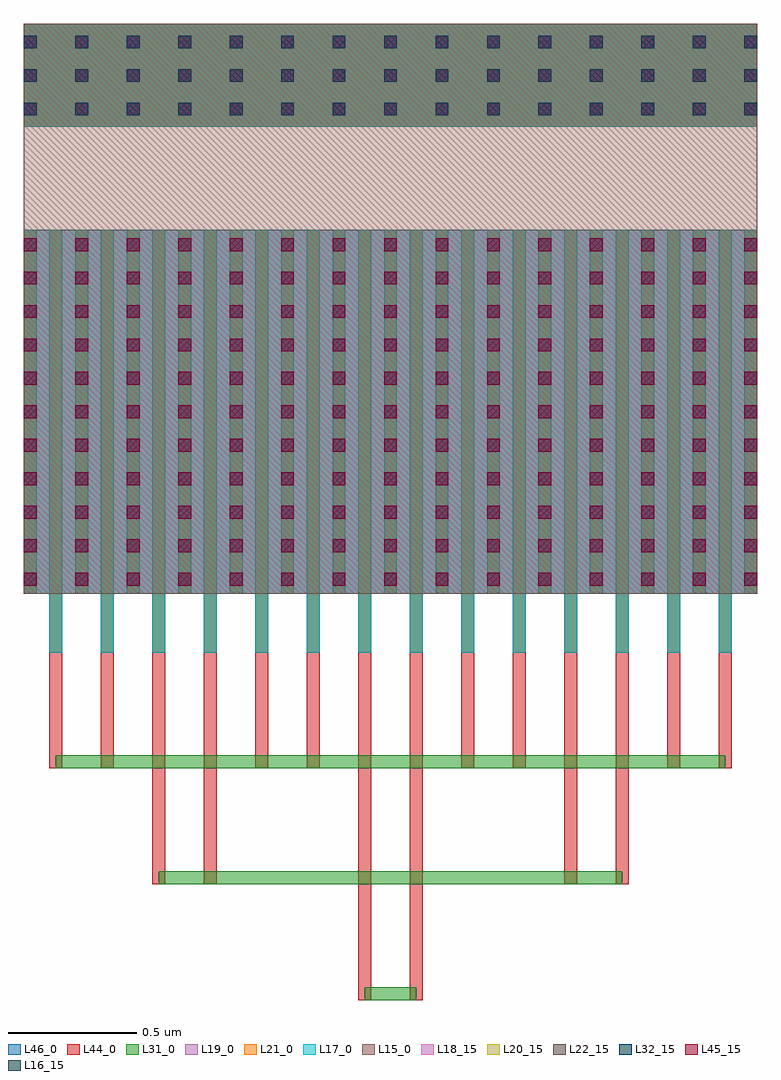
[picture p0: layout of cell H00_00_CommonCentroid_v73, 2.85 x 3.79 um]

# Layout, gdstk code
import gdstk
lib = gdstk.Library(unit=1e-6, precision=1e-09)
def R(c, l, rs):  # rectangles x0, y0, x1, y1
    for r in rs: c.add(gdstk.rectangle(r[:2], r[2:], *l))
def A(c, l, x, y, w, h, nx, ny, dx, dy):  # array of equal rectangles
    R(c, l, [(x+i*dx, y+j*dy, x+i*dx+w, y+j*dy+h) for i in range(nx) for j in range(ny)])
L15_0 = (15, 0)
L16_15 = (16, 15)
L17_0 = (17, 0)
L18_15 = (18, 15)
L19_0 = (19, 0)
L20_15 = (20, 15)
L21_0 = (21, 0)
L22_15 = (22, 15)
L31_0 = (31, 0)
L32_15 = (32, 15)
L44_0 = (44, 0)
L45_15 = (45, 15)
L46_0 = (46, 0)

h00_00_commoncentroid_v7 = lib.new_cell('H00_00_CommonCentroid_v73:SRF_CommonArray:SRF_CDAC_B2:SRF_UCAP:SRF_ECAP:SRF_Top_ViaM2M7:SRF_ViaM2M3')
R(h00_00_commoncentroid_v7, L17_0, [(0,-1.332,0.05,0.082)])
A(h00_00_commoncentroid_v7, L18_15, 0, -1.3, 0.05, 0.05, 1, 11, 0, 0.13)
R(h00_00_commoncentroid_v7, L19_0, [(0,-1.332,0.05,0.082)])

c_h00_00_commoncentroid_v7 = lib.new_cell('H00_00_CommonCentroid_v73:SRF_CommonArray:SRF_CDAC_B2:SRF_UCAP:SRF_ECAP:SRF_Top_ViaM2M7:SRF_ViaM3M4')
R(c_h00_00_commoncentroid_v7, L19_0, [(0,-1.332,0.05,0.082)])
A(c_h00_00_commoncentroid_v7, L20_15, 0, -1.3, 0.05, 0.05, 1, 11, 0, 0.13)
R(c_h00_00_commoncentroid_v7, L21_0, [(0,-1.332,0.05,0.082)])

c_h00_00_commoncentroid_v7_ = lib.new_cell('H00_00_CommonCentroid_v73:SRF_CommonArray:SRF_CDAC_B2:SRF_UCAP:SRF_ECAP:SRF_Top_ViaM2M7:SRF_ViaM4M5')
R(c_h00_00_commoncentroid_v7_, L21_0, [(0,-1.332,0.05,0.082)])
A(c_h00_00_commoncentroid_v7_, L22_15, 0, -1.3, 0.05, 0.05, 1, 11, 0, 0.13)
R(c_h00_00_commoncentroid_v7_, L31_0, [(0,-1.332,0.05,0.082)])

c_h00_00_commoncentroid_v7__ = lib.new_cell('H00_00_CommonCentroid_v73:SRF_CommonArray:SRF_CDAC_B2:SRF_UCAP:SRF_ECAP:SRF_Top_ViaM2M7:SRF_ViaM5M6')
R(c_h00_00_commoncentroid_v7__, L31_0, [(0,-1.332,0.05,0.082)])
A(c_h00_00_commoncentroid_v7__, L32_15, 0, -1.3, 0.05, 0.05, 1, 11, 0, 0.13)
R(c_h00_00_commoncentroid_v7__, L44_0, [(0,-1.332,0.05,0.082)])

c_h00_00_commoncentroid_v7___ = lib.new_cell('H00_00_CommonCentroid_v73:SRF_CommonArray:SRF_CDAC_B2:SRF_UCAP:SRF_ECAP:SRF_Top_ViaM2M7:SRF_ViaM6M7')
R(c_h00_00_commoncentroid_v7___, L44_0, [(0,-1.332,0.05,0.082)])
A(c_h00_00_commoncentroid_v7___, L45_15, 0, -1.3, 0.05, 0.05, 1, 11, 0, 0.13)
R(c_h00_00_commoncentroid_v7___, L46_0, [(0,-1.332,0.05,0.082)])

c_h00_00_commoncentroid_v7____ = lib.new_cell('H00_00_CommonCentroid_v73:SRF_CommonArray:SRF_CDAC_B2:SRF_UCAP:SRF_ECAP:SRF_Top_ViaM2M7')
c_h00_00_commoncentroid_v7____.add(gdstk.Reference(h00_00_commoncentroid_v7, (-0.025,0.625)))
c_h00_00_commoncentroid_v7____.add(gdstk.Reference(c_h00_00_commoncentroid_v7, (-0.025,0.625)))
c_h00_00_commoncentroid_v7____.add(gdstk.Reference(c_h00_00_commoncentroid_v7_, (-0.025,0.625)))
c_h00_00_commoncentroid_v7____.add(gdstk.Reference(c_h00_00_commoncentroid_v7__, (-0.025,0.625)))
c_h00_00_commoncentroid_v7____.add(gdstk.Reference(c_h00_00_commoncentroid_v7___, (-0.025,0.625)))

c_h00_00_commoncentroid_v7_____ = lib.new_cell('H00_00_CommonCentroid_v73:SRF_CommonArray:SRF_CDAC_B2:SRF_UCAP:SRF_ECAP')
R(c_h00_00_commoncentroid_v7_____, L17_0, [(0.1,-0.228,0.15,1.414), (0,0,0.05,1.414), (0.2,0,0.25,1.414), (0.2,0,0.25,1.414), (0.2,0,0.25,1.414), (0.2,0,0.25,1.414), (0.2,0,0.25,1.414), (0.2,0,0.25,1.414), (0.2,0,0.25,1.414), (0.2,0,0.25,1.414), (0.2,0,0.25,1.414), (0.2,0,0.25,1.414), (0.2,0,0.25,1.414), (0.2,0,0.25,1.414)])
R(c_h00_00_commoncentroid_v7_____, L19_0, [(0.1,-0.228,0.15,1.414), (0,0,0.05,1.414), (0.2,0,0.25,1.414), (0.2,0,0.25,1.414), (0.2,0,0.25,1.414), (0.2,0,0.25,1.414), (0.2,0,0.25,1.414), (0.2,0,0.25,1.414), (0.2,0,0.25,1.414), (0.2,0,0.25,1.414), (0.2,0,0.25,1.414), (0.2,0,0.25,1.414), (0.2,0,0.25,1.414), (0.2,0,0.25,1.414)])
R(c_h00_00_commoncentroid_v7_____, L21_0, [(0.1,-0.228,0.15,1.414), (0,0,0.05,1.414), (0.2,0,0.25,1.414), (0.2,0,0.25,1.414), (0.2,0,0.25,1.414), (0.2,0,0.25,1.414), (0.2,0,0.25,1.414), (0.2,0,0.25,1.414), (0.2,0,0.25,1.414), (0.2,0,0.25,1.414), (0.2,0,0.25,1.414), (0.2,0,0.25,1.414), (0.2,0,0.25,1.414), (0.2,0,0.25,1.414)])
R(c_h00_00_commoncentroid_v7_____, L31_0, [(0.1,-0.228,0.15,1.414), (0,0,0.05,1.414), (0.2,0,0.25,1.414), (0.2,0,0.25,1.414), (0.2,0,0.25,1.414), (0.2,0,0.25,1.414), (0.2,0,0.25,1.414), (0.2,0,0.25,1.414), (0.2,0,0.25,1.414), (0.2,0,0.25,1.414), (0.2,0,0.25,1.414), (0.2,0,0.25,1.414), (0.2,0,0.25,1.414), (0.2,0,0.25,1.414)])
R(c_h00_00_commoncentroid_v7_____, L44_0, [(0.1,-0.228,0.15,1.414), (0,0,0.05,1.414), (0.2,0,0.25,1.414), (0.2,0,0.25,1.414), (0.2,0,0.25,1.414), (0.2,0,0.25,1.414), (0.2,0,0.25,1.414), (0.2,0,0.25,1.414), (0.2,0,0.25,1.414), (0.2,0,0.25,1.414), (0.2,0,0.25,1.414), (0.2,0,0.25,1.414), (0.2,0,0.25,1.414), (0.2,0,0.25,1.414)])
R(c_h00_00_commoncentroid_v7_____, L46_0, [(0,0,0.05,1.414), (0.2,0,0.25,1.414), (0.2,0,0.25,1.414), (0.2,0,0.25,1.414), (0.2,0,0.25,1.414), (0.2,0,0.25,1.414), (0.2,0,0.25,1.414), (0.2,0,0.25,1.414), (0.2,0,0.25,1.414), (0.2,0,0.25,1.414), (0.2,0,0.25,1.414), (0.2,0,0.25,1.414), (0.2,0,0.25,1.414)])
c_h00_00_commoncentroid_v7_____.add(gdstk.Reference(c_h00_00_commoncentroid_v7____, (0.025,0.707)))
c_h00_00_commoncentroid_v7_____.add(gdstk.Reference(c_h00_00_commoncentroid_v7____, (0.225,0.707)))

c_h00_00_commoncentroid_v7______ = lib.new_cell('H00_00_CommonCentroid_v73:SRF_CommonArray:SRF_CDAC_B2:SRF_UCAP')
c_h00_00_commoncentroid_v7______.add(gdstk.Reference(c_h00_00_commoncentroid_v7_____, (0,0)))
c_h00_00_commoncentroid_v7______.add(gdstk.Reference(c_h00_00_commoncentroid_v7_____, (0.2,0)))

c_h00_00_commoncentroid_v7_______ = lib.new_cell('H00_00_CommonCentroid_v73:SRF_CommonArray:SRF_CDAC_B2:SRF_Shield_ViaM1M7:SRF_ViaM1M2')
R(c_h00_00_commoncentroid_v7_______, L15_0, [(0,-0.292,0.05,0.082)])
A(c_h00_00_commoncentroid_v7_______, L16_15, 0, -0.26, 0.05, 0.05, 1, 3, 0, 0.13)
R(c_h00_00_commoncentroid_v7_______, L17_0, [(0,-0.292,0.05,0.082)])

c_h00_00_commoncentroid_v7________ = lib.new_cell('H00_00_CommonCentroid_v73:SRF_CommonArray:SRF_CDAC_B2:SRF_Shield_ViaM1M7:SRF_ViaM2M3')
R(c_h00_00_commoncentroid_v7________, L17_0, [(0,-0.292,0.05,0.082)])
A(c_h00_00_commoncentroid_v7________, L18_15, 0, -0.26, 0.05, 0.05, 1, 3, 0, 0.13)
R(c_h00_00_commoncentroid_v7________, L19_0, [(0,-0.292,0.05,0.082)])

c_h00_00_commoncentroid_v7_________ = lib.new_cell('H00_00_CommonCentroid_v73:SRF_CommonArray:SRF_CDAC_B2:SRF_Shield_ViaM1M7:SRF_ViaM3M4')
R(c_h00_00_commoncentroid_v7_________, L19_0, [(0,-0.292,0.05,0.082)])
A(c_h00_00_commoncentroid_v7_________, L20_15, 0, -0.26, 0.05, 0.05, 1, 3, 0, 0.13)
R(c_h00_00_commoncentroid_v7_________, L21_0, [(0,-0.292,0.05,0.082)])

c_h00_00_commoncentroid_v7__________ = lib.new_cell('H00_00_CommonCentroid_v73:SRF_CommonArray:SRF_CDAC_B2:SRF_Shield_ViaM1M7:SRF_ViaM4M5')
R(c_h00_00_commoncentroid_v7__________, L21_0, [(0,-0.292,0.05,0.082)])
A(c_h00_00_commoncentroid_v7__________, L22_15, 0, -0.26, 0.05, 0.05, 1, 3, 0, 0.13)
R(c_h00_00_commoncentroid_v7__________, L31_0, [(0,-0.292,0.05,0.082)])

c_h00_00_commoncentroid_v7___________ = lib.new_cell('H00_00_CommonCentroid_v73:SRF_CommonArray:SRF_CDAC_B2:SRF_Shield_ViaM1M7:SRF_ViaM5M6')
R(c_h00_00_commoncentroid_v7___________, L31_0, [(0,-0.292,0.05,0.082)])
A(c_h00_00_commoncentroid_v7___________, L32_15, 0, -0.26, 0.05, 0.05, 1, 3, 0, 0.13)
R(c_h00_00_commoncentroid_v7___________, L44_0, [(0,-0.292,0.05,0.082)])

c_h00_00_commoncentroid_v7____________ = lib.new_cell('H00_00_CommonCentroid_v73:SRF_CommonArray:SRF_CDAC_B2:SRF_Shield_ViaM1M7:SRF_ViaM6M7')
R(c_h00_00_commoncentroid_v7____________, L44_0, [(0,-0.292,0.05,0.082)])
A(c_h00_00_commoncentroid_v7____________, L45_15, 0, -0.26, 0.05, 0.05, 1, 3, 0, 0.13)
R(c_h00_00_commoncentroid_v7____________, L46_0, [(0,-0.292,0.05,0.082)])

c_h00_00_commoncentroid_v7_____________ = lib.new_cell('H00_00_CommonCentroid_v73:SRF_CommonArray:SRF_CDAC_B2:SRF_Shield_ViaM1M7')
c_h00_00_commoncentroid_v7_____________.add(gdstk.Reference(c_h00_00_commoncentroid_v7_______, (-0.025,0.105)))
c_h00_00_commoncentroid_v7_____________.add(gdstk.Reference(c_h00_00_commoncentroid_v7________, (-0.025,0.105)))
c_h00_00_commoncentroid_v7_____________.add(gdstk.Reference(c_h00_00_commoncentroid_v7_________, (-0.025,0.105)))
c_h00_00_commoncentroid_v7_____________.add(gdstk.Reference(c_h00_00_commoncentroid_v7__________, (-0.025,0.105)))
c_h00_00_commoncentroid_v7_____________.add(gdstk.Reference(c_h00_00_commoncentroid_v7___________, (-0.025,0.105)))
c_h00_00_commoncentroid_v7_____________.add(gdstk.Reference(c_h00_00_commoncentroid_v7____________, (-0.025,0.105)))

c_h00_00_commoncentroid_v7______________ = lib.new_cell('H00_00_CommonCentroid_v73:SRF_CommonArray:SRF_CDAC_B2')
R(c_h00_00_commoncentroid_v7______________, L15_0, [(0,0,0.45,1.414), (0,1.414,0.45,1.814), (0,1.814,0.45,2.214)])
R(c_h00_00_commoncentroid_v7______________, L17_0, [(0,1.814,0.45,2.214)])
R(c_h00_00_commoncentroid_v7______________, L19_0, [(0,1.814,0.45,2.214)])
R(c_h00_00_commoncentroid_v7______________, L21_0, [(0,1.814,0.45,2.214)])
R(c_h00_00_commoncentroid_v7______________, L31_0, [(0,1.814,0.45,2.214)])
R(c_h00_00_commoncentroid_v7______________, L44_0, [(0,1.814,0.45,2.214)])
R(c_h00_00_commoncentroid_v7______________, L46_0, [(0,0,0.45,1.414), (0,1.814,0.45,2.214)])
c_h00_00_commoncentroid_v7______________.add(gdstk.Reference(c_h00_00_commoncentroid_v7______, (0,0)))
c_h00_00_commoncentroid_v7______________.add(gdstk.Reference(c_h00_00_commoncentroid_v7_____________, (0.025,2.014)))
c_h00_00_commoncentroid_v7______________.add(gdstk.Reference(c_h00_00_commoncentroid_v7_____________, (0.225,2.014)))
c_h00_00_commoncentroid_v7______________.add(gdstk.Reference(c_h00_00_commoncentroid_v7_____________, (0.225,2.014)))
c_h00_00_commoncentroid_v7______________.add(gdstk.Reference(c_h00_00_commoncentroid_v7_____________, (0.425,2.014)))

c_h00_00_commoncentroid_v7_______________ = lib.new_cell('H00_00_CommonCentroid_v73:SRF_CommonArray:SRF_CDAC_B1:SRF_UCAP:SRF_ECAP:SRF_Top_ViaM2M7:SRF_ViaM2M3')
R(c_h00_00_commoncentroid_v7_______________, L17_0, [(0,-1.332,0.05,0.082)])
A(c_h00_00_commoncentroid_v7_______________, L18_15, 0, -1.3, 0.05, 0.05, 1, 11, 0, 0.13)
R(c_h00_00_commoncentroid_v7_______________, L19_0, [(0,-1.332,0.05,0.082)])

c_h00_00_commoncentroid_v7________________ = lib.new_cell('H00_00_CommonCentroid_v73:SRF_CommonArray:SRF_CDAC_B1:SRF_UCAP:SRF_ECAP:SRF_Top_ViaM2M7:SRF_ViaM3M4')
R(c_h00_00_commoncentroid_v7________________, L19_0, [(0,-1.332,0.05,0.082)])
A(c_h00_00_commoncentroid_v7________________, L20_15, 0, -1.3, 0.05, 0.05, 1, 11, 0, 0.13)
R(c_h00_00_commoncentroid_v7________________, L21_0, [(0,-1.332,0.05,0.082)])

c_h00_00_commoncentroid_v7_________________ = lib.new_cell('H00_00_CommonCentroid_v73:SRF_CommonArray:SRF_CDAC_B1:SRF_UCAP:SRF_ECAP:SRF_Top_ViaM2M7:SRF_ViaM4M5')
R(c_h00_00_commoncentroid_v7_________________, L21_0, [(0,-1.332,0.05,0.082)])
A(c_h00_00_commoncentroid_v7_________________, L22_15, 0, -1.3, 0.05, 0.05, 1, 11, 0, 0.13)
R(c_h00_00_commoncentroid_v7_________________, L31_0, [(0,-1.332,0.05,0.082)])

c_h00_00_commoncentroid_v7__________________ = lib.new_cell('H00_00_CommonCentroid_v73:SRF_CommonArray:SRF_CDAC_B1:SRF_UCAP:SRF_ECAP:SRF_Top_ViaM2M7:SRF_ViaM5M6')
R(c_h00_00_commoncentroid_v7__________________, L31_0, [(0,-1.332,0.05,0.082)])
A(c_h00_00_commoncentroid_v7__________________, L32_15, 0, -1.3, 0.05, 0.05, 1, 11, 0, 0.13)
R(c_h00_00_commoncentroid_v7__________________, L44_0, [(0,-1.332,0.05,0.082)])

c_h00_00_commoncentroid_v7___________________ = lib.new_cell('H00_00_CommonCentroid_v73:SRF_CommonArray:SRF_CDAC_B1:SRF_UCAP:SRF_ECAP:SRF_Top_ViaM2M7:SRF_ViaM6M7')
R(c_h00_00_commoncentroid_v7___________________, L44_0, [(0,-1.332,0.05,0.082)])
A(c_h00_00_commoncentroid_v7___________________, L45_15, 0, -1.3, 0.05, 0.05, 1, 11, 0, 0.13)
R(c_h00_00_commoncentroid_v7___________________, L46_0, [(0,-1.332,0.05,0.082)])

c_h00_00_commoncentroid_v7____________________ = lib.new_cell('H00_00_CommonCentroid_v73:SRF_CommonArray:SRF_CDAC_B1:SRF_UCAP:SRF_ECAP:SRF_Top_ViaM2M7')
c_h00_00_commoncentroid_v7____________________.add(gdstk.Reference(c_h00_00_commoncentroid_v7_______________, (-0.025,0.625)))
c_h00_00_commoncentroid_v7____________________.add(gdstk.Reference(c_h00_00_commoncentroid_v7________________, (-0.025,0.625)))
c_h00_00_commoncentroid_v7____________________.add(gdstk.Reference(c_h00_00_commoncentroid_v7_________________, (-0.025,0.625)))
c_h00_00_commoncentroid_v7____________________.add(gdstk.Reference(c_h00_00_commoncentroid_v7__________________, (-0.025,0.625)))
c_h00_00_commoncentroid_v7____________________.add(gdstk.Reference(c_h00_00_commoncentroid_v7___________________, (-0.025,0.625)))

c_h00_00_commoncentroid_v7_____________________ = lib.new_cell('H00_00_CommonCentroid_v73:SRF_CommonArray:SRF_CDAC_B1:SRF_UCAP:SRF_ECAP')
R(c_h00_00_commoncentroid_v7_____________________, L17_0, [(0.1,-0.228,0.15,1.414), (0,0,0.05,1.414), (0.2,0,0.25,1.414), (0.2,0,0.25,1.414), (0.2,0,0.25,1.414), (0.2,0,0.25,1.414), (0.2,0,0.25,1.414), (0.2,0,0.25,1.414), (0.2,0,0.25,1.414), (0.2,0,0.25,1.414), (0.2,0,0.25,1.414), (0.2,0,0.25,1.414), (0.2,0,0.25,1.414), (0.2,0,0.25,1.414)])
R(c_h00_00_commoncentroid_v7_____________________, L19_0, [(0.1,-0.228,0.15,1.414), (0,0,0.05,1.414), (0.2,0,0.25,1.414), (0.2,0,0.25,1.414), (0.2,0,0.25,1.414), (0.2,0,0.25,1.414), (0.2,0,0.25,1.414), (0.2,0,0.25,1.414), (0.2,0,0.25,1.414), (0.2,0,0.25,1.414), (0.2,0,0.25,1.414), (0.2,0,0.25,1.414), (0.2,0,0.25,1.414), (0.2,0,0.25,1.414)])
R(c_h00_00_commoncentroid_v7_____________________, L21_0, [(0.1,-0.228,0.15,1.414), (0,0,0.05,1.414), (0.2,0,0.25,1.414), (0.2,0,0.25,1.414), (0.2,0,0.25,1.414), (0.2,0,0.25,1.414), (0.2,0,0.25,1.414), (0.2,0,0.25,1.414), (0.2,0,0.25,1.414), (0.2,0,0.25,1.414), (0.2,0,0.25,1.414), (0.2,0,0.25,1.414), (0.2,0,0.25,1.414), (0.2,0,0.25,1.414)])
R(c_h00_00_commoncentroid_v7_____________________, L31_0, [(0.1,-0.228,0.15,1.414), (0,0,0.05,1.414), (0.2,0,0.25,1.414), (0.2,0,0.25,1.414), (0.2,0,0.25,1.414), (0.2,0,0.25,1.414), (0.2,0,0.25,1.414), (0.2,0,0.25,1.414), (0.2,0,0.25,1.414), (0.2,0,0.25,1.414), (0.2,0,0.25,1.414), (0.2,0,0.25,1.414), (0.2,0,0.25,1.414), (0.2,0,0.25,1.414)])
R(c_h00_00_commoncentroid_v7_____________________, L44_0, [(0.1,-0.228,0.15,1.414), (0,0,0.05,1.414), (0.2,0,0.25,1.414), (0.2,0,0.25,1.414), (0.2,0,0.25,1.414), (0.2,0,0.25,1.414), (0.2,0,0.25,1.414), (0.2,0,0.25,1.414), (0.2,0,0.25,1.414), (0.2,0,0.25,1.414), (0.2,0,0.25,1.414), (0.2,0,0.25,1.414), (0.2,0,0.25,1.414), (0.2,0,0.25,1.414)])
R(c_h00_00_commoncentroid_v7_____________________, L46_0, [(0,0,0.05,1.414), (0.2,0,0.25,1.414), (0.2,0,0.25,1.414), (0.2,0,0.25,1.414), (0.2,0,0.25,1.414), (0.2,0,0.25,1.414), (0.2,0,0.25,1.414), (0.2,0,0.25,1.414), (0.2,0,0.25,1.414), (0.2,0,0.25,1.414), (0.2,0,0.25,1.414), (0.2,0,0.25,1.414), (0.2,0,0.25,1.414)])
c_h00_00_commoncentroid_v7_____________________.add(gdstk.Reference(c_h00_00_commoncentroid_v7____________________, (0.025,0.707)))
c_h00_00_commoncentroid_v7_____________________.add(gdstk.Reference(c_h00_00_commoncentroid_v7____________________, (0.225,0.707)))

c_h00_00_commoncentroid_v7______________________ = lib.new_cell('H00_00_CommonCentroid_v73:SRF_CommonArray:SRF_CDAC_B1:SRF_UCAP')
c_h00_00_commoncentroid_v7______________________.add(gdstk.Reference(c_h00_00_commoncentroid_v7_____________________, (0,0)))
c_h00_00_commoncentroid_v7______________________.add(gdstk.Reference(c_h00_00_commoncentroid_v7_____________________, (0.2,0)))

c_h00_00_commoncentroid_v7_______________________ = lib.new_cell('H00_00_CommonCentroid_v73:SRF_CommonArray:SRF_CDAC_B1:SRF_Shield_ViaM1M7:SRF_ViaM1M2')
R(c_h00_00_commoncentroid_v7_______________________, L15_0, [(0,-0.292,0.05,0.082)])
A(c_h00_00_commoncentroid_v7_______________________, L16_15, 0, -0.26, 0.05, 0.05, 1, 3, 0, 0.13)
R(c_h00_00_commoncentroid_v7_______________________, L17_0, [(0,-0.292,0.05,0.082)])

c_h00_00_commoncentroid_v7________________________ = lib.new_cell('H00_00_CommonCentroid_v73:SRF_CommonArray:SRF_CDAC_B1:SRF_Shield_ViaM1M7:SRF_ViaM2M3')
R(c_h00_00_commoncentroid_v7________________________, L17_0, [(0,-0.292,0.05,0.082)])
A(c_h00_00_commoncentroid_v7________________________, L18_15, 0, -0.26, 0.05, 0.05, 1, 3, 0, 0.13)
R(c_h00_00_commoncentroid_v7________________________, L19_0, [(0,-0.292,0.05,0.082)])

c_h00_00_commoncentroid_v7_________________________ = lib.new_cell('H00_00_CommonCentroid_v73:SRF_CommonArray:SRF_CDAC_B1:SRF_Shield_ViaM1M7:SRF_ViaM3M4')
R(c_h00_00_commoncentroid_v7_________________________, L19_0, [(0,-0.292,0.05,0.082)])
A(c_h00_00_commoncentroid_v7_________________________, L20_15, 0, -0.26, 0.05, 0.05, 1, 3, 0, 0.13)
R(c_h00_00_commoncentroid_v7_________________________, L21_0, [(0,-0.292,0.05,0.082)])

c_h00_00_commoncentroid_v7__________________________ = lib.new_cell('H00_00_CommonCentroid_v73:SRF_CommonArray:SRF_CDAC_B1:SRF_Shield_ViaM1M7:SRF_ViaM4M5')
R(c_h00_00_commoncentroid_v7__________________________, L21_0, [(0,-0.292,0.05,0.082)])
A(c_h00_00_commoncentroid_v7__________________________, L22_15, 0, -0.26, 0.05, 0.05, 1, 3, 0, 0.13)
R(c_h00_00_commoncentroid_v7__________________________, L31_0, [(0,-0.292,0.05,0.082)])

c_h00_00_commoncentroid_v7___________________________ = lib.new_cell('H00_00_CommonCentroid_v73:SRF_CommonArray:SRF_CDAC_B1:SRF_Shield_ViaM1M7:SRF_ViaM5M6')
R(c_h00_00_commoncentroid_v7___________________________, L31_0, [(0,-0.292,0.05,0.082)])
A(c_h00_00_commoncentroid_v7___________________________, L32_15, 0, -0.26, 0.05, 0.05, 1, 3, 0, 0.13)
R(c_h00_00_commoncentroid_v7___________________________, L44_0, [(0,-0.292,0.05,0.082)])

c_h00_00_commoncentroid_v7____________________________ = lib.new_cell('H00_00_CommonCentroid_v73:SRF_CommonArray:SRF_CDAC_B1:SRF_Shield_ViaM1M7:SRF_ViaM6M7')
R(c_h00_00_commoncentroid_v7____________________________, L44_0, [(0,-0.292,0.05,0.082)])
A(c_h00_00_commoncentroid_v7____________________________, L45_15, 0, -0.26, 0.05, 0.05, 1, 3, 0, 0.13)
R(c_h00_00_commoncentroid_v7____________________________, L46_0, [(0,-0.292,0.05,0.082)])

c_h00_00_commoncentroid_v7_____________________________ = lib.new_cell('H00_00_CommonCentroid_v73:SRF_CommonArray:SRF_CDAC_B1:SRF_Shield_ViaM1M7')
c_h00_00_commoncentroid_v7_____________________________.add(gdstk.Reference(c_h00_00_commoncentroid_v7_______________________, (-0.025,0.105)))
c_h00_00_commoncentroid_v7_____________________________.add(gdstk.Reference(c_h00_00_commoncentroid_v7________________________, (-0.025,0.105)))
c_h00_00_commoncentroid_v7_____________________________.add(gdstk.Reference(c_h00_00_commoncentroid_v7_________________________, (-0.025,0.105)))
c_h00_00_commoncentroid_v7_____________________________.add(gdstk.Reference(c_h00_00_commoncentroid_v7__________________________, (-0.025,0.105)))
c_h00_00_commoncentroid_v7_____________________________.add(gdstk.Reference(c_h00_00_commoncentroid_v7___________________________, (-0.025,0.105)))
c_h00_00_commoncentroid_v7_____________________________.add(gdstk.Reference(c_h00_00_commoncentroid_v7____________________________, (-0.025,0.105)))

c_h00_00_commoncentroid_v7______________________________ = lib.new_cell('H00_00_CommonCentroid_v73:SRF_CommonArray:SRF_CDAC_B1')
R(c_h00_00_commoncentroid_v7______________________________, L15_0, [(0,0,0.45,1.414), (0,1.414,0.45,1.814), (0,1.814,0.45,2.214)])
R(c_h00_00_commoncentroid_v7______________________________, L17_0, [(0,1.814,0.45,2.214)])
R(c_h00_00_commoncentroid_v7______________________________, L19_0, [(0,1.814,0.45,2.214)])
R(c_h00_00_commoncentroid_v7______________________________, L21_0, [(0,1.814,0.45,2.214)])
R(c_h00_00_commoncentroid_v7______________________________, L31_0, [(0,1.814,0.45,2.214)])
R(c_h00_00_commoncentroid_v7______________________________, L44_0, [(0,1.814,0.45,2.214)])
R(c_h00_00_commoncentroid_v7______________________________, L46_0, [(0,0,0.45,1.414), (0,1.814,0.45,2.214)])
c_h00_00_commoncentroid_v7______________________________.add(gdstk.Reference(c_h00_00_commoncentroid_v7______________________, (0,0)))
c_h00_00_commoncentroid_v7______________________________.add(gdstk.Reference(c_h00_00_commoncentroid_v7_____________________________, (0.025,2.014)))
c_h00_00_commoncentroid_v7______________________________.add(gdstk.Reference(c_h00_00_commoncentroid_v7_____________________________, (0.225,2.014)))
c_h00_00_commoncentroid_v7______________________________.add(gdstk.Reference(c_h00_00_commoncentroid_v7_____________________________, (0.225,2.014)))
c_h00_00_commoncentroid_v7______________________________.add(gdstk.Reference(c_h00_00_commoncentroid_v7_____________________________, (0.425,2.014)))

c_h00_00_commoncentroid_v7_______________________________ = lib.new_cell('H00_00_CommonCentroid_v73:SRF_CommonArray:SRF_CDAC_B0:SRF_UCAP:SRF_ECAP:SRF_Top_ViaM2M7:SRF_ViaM2M3')
R(c_h00_00_commoncentroid_v7_______________________________, L17_0, [(0,-1.332,0.05,0.082)])
A(c_h00_00_commoncentroid_v7_______________________________, L18_15, 0, -1.3, 0.05, 0.05, 1, 11, 0, 0.13)
R(c_h00_00_commoncentroid_v7_______________________________, L19_0, [(0,-1.332,0.05,0.082)])

c_h00_00_commoncentroid_v7________________________________ = lib.new_cell('H00_00_CommonCentroid_v73:SRF_CommonArray:SRF_CDAC_B0:SRF_UCAP:SRF_ECAP:SRF_Top_ViaM2M7:SRF_ViaM3M4')
R(c_h00_00_commoncentroid_v7________________________________, L19_0, [(0,-1.332,0.05,0.082)])
A(c_h00_00_commoncentroid_v7________________________________, L20_15, 0, -1.3, 0.05, 0.05, 1, 11, 0, 0.13)
R(c_h00_00_commoncentroid_v7________________________________, L21_0, [(0,-1.332,0.05,0.082)])

c_h00_00_commoncentroid_v7_________________________________ = lib.new_cell('H00_00_CommonCentroid_v73:SRF_CommonArray:SRF_CDAC_B0:SRF_UCAP:SRF_ECAP:SRF_Top_ViaM2M7:SRF_ViaM4M5')
R(c_h00_00_commoncentroid_v7_________________________________, L21_0, [(0,-1.332,0.05,0.082)])
A(c_h00_00_commoncentroid_v7_________________________________, L22_15, 0, -1.3, 0.05, 0.05, 1, 11, 0, 0.13)
R(c_h00_00_commoncentroid_v7_________________________________, L31_0, [(0,-1.332,0.05,0.082)])

c_h00_00_commoncentroid_v7__________________________________ = lib.new_cell('H00_00_CommonCentroid_v73:SRF_CommonArray:SRF_CDAC_B0:SRF_UCAP:SRF_ECAP:SRF_Top_ViaM2M7:SRF_ViaM5M6')
R(c_h00_00_commoncentroid_v7__________________________________, L31_0, [(0,-1.332,0.05,0.082)])
A(c_h00_00_commoncentroid_v7__________________________________, L32_15, 0, -1.3, 0.05, 0.05, 1, 11, 0, 0.13)
R(c_h00_00_commoncentroid_v7__________________________________, L44_0, [(0,-1.332,0.05,0.082)])

c_h00_00_commoncentroid_v7___________________________________ = lib.new_cell('H00_00_CommonCentroid_v73:SRF_CommonArray:SRF_CDAC_B0:SRF_UCAP:SRF_ECAP:SRF_Top_ViaM2M7:SRF_ViaM6M7')
R(c_h00_00_commoncentroid_v7___________________________________, L44_0, [(0,-1.332,0.05,0.082)])
A(c_h00_00_commoncentroid_v7___________________________________, L45_15, 0, -1.3, 0.05, 0.05, 1, 11, 0, 0.13)
R(c_h00_00_commoncentroid_v7___________________________________, L46_0, [(0,-1.332,0.05,0.082)])

c_h00_00_commoncentroid_v7____________________________________ = lib.new_cell('H00_00_CommonCentroid_v73:SRF_CommonArray:SRF_CDAC_B0:SRF_UCAP:SRF_ECAP:SRF_Top_ViaM2M7')
c_h00_00_commoncentroid_v7____________________________________.add(gdstk.Reference(c_h00_00_commoncentroid_v7_______________________________, (-0.025,0.625)))
c_h00_00_commoncentroid_v7____________________________________.add(gdstk.Reference(c_h00_00_commoncentroid_v7________________________________, (-0.025,0.625)))
c_h00_00_commoncentroid_v7____________________________________.add(gdstk.Reference(c_h00_00_commoncentroid_v7_________________________________, (-0.025,0.625)))
c_h00_00_commoncentroid_v7____________________________________.add(gdstk.Reference(c_h00_00_commoncentroid_v7__________________________________, (-0.025,0.625)))
c_h00_00_commoncentroid_v7____________________________________.add(gdstk.Reference(c_h00_00_commoncentroid_v7___________________________________, (-0.025,0.625)))

c_h00_00_commoncentroid_v7_____________________________________ = lib.new_cell('H00_00_CommonCentroid_v73:SRF_CommonArray:SRF_CDAC_B0:SRF_UCAP:SRF_ECAP')
R(c_h00_00_commoncentroid_v7_____________________________________, L17_0, [(0.1,-0.228,0.15,1.414), (0,0,0.05,1.414), (0.2,0,0.25,1.414), (0.2,0,0.25,1.414), (0.2,0,0.25,1.414), (0.2,0,0.25,1.414), (0.2,0,0.25,1.414), (0.2,0,0.25,1.414), (0.2,0,0.25,1.414), (0.2,0,0.25,1.414), (0.2,0,0.25,1.414), (0.2,0,0.25,1.414), (0.2,0,0.25,1.414), (0.2,0,0.25,1.414)])
R(c_h00_00_commoncentroid_v7_____________________________________, L19_0, [(0.1,-0.228,0.15,1.414), (0,0,0.05,1.414), (0.2,0,0.25,1.414), (0.2,0,0.25,1.414), (0.2,0,0.25,1.414), (0.2,0,0.25,1.414), (0.2,0,0.25,1.414), (0.2,0,0.25,1.414), (0.2,0,0.25,1.414), (0.2,0,0.25,1.414), (0.2,0,0.25,1.414), (0.2,0,0.25,1.414), (0.2,0,0.25,1.414), (0.2,0,0.25,1.414)])
R(c_h00_00_commoncentroid_v7_____________________________________, L21_0, [(0.1,-0.228,0.15,1.414), (0,0,0.05,1.414), (0.2,0,0.25,1.414), (0.2,0,0.25,1.414), (0.2,0,0.25,1.414), (0.2,0,0.25,1.414), (0.2,0,0.25,1.414), (0.2,0,0.25,1.414), (0.2,0,0.25,1.414), (0.2,0,0.25,1.414), (0.2,0,0.25,1.414), (0.2,0,0.25,1.414), (0.2,0,0.25,1.414), (0.2,0,0.25,1.414)])
R(c_h00_00_commoncentroid_v7_____________________________________, L31_0, [(0.1,-0.228,0.15,1.414), (0,0,0.05,1.414), (0.2,0,0.25,1.414), (0.2,0,0.25,1.414), (0.2,0,0.25,1.414), (0.2,0,0.25,1.414), (0.2,0,0.25,1.414), (0.2,0,0.25,1.414), (0.2,0,0.25,1.414), (0.2,0,0.25,1.414), (0.2,0,0.25,1.414), (0.2,0,0.25,1.414), (0.2,0,0.25,1.414), (0.2,0,0.25,1.414)])
R(c_h00_00_commoncentroid_v7_____________________________________, L44_0, [(0.1,-0.228,0.15,1.414), (0,0,0.05,1.414), (0.2,0,0.25,1.414), (0.2,0,0.25,1.414), (0.2,0,0.25,1.414), (0.2,0,0.25,1.414), (0.2,0,0.25,1.414), (0.2,0,0.25,1.414), (0.2,0,0.25,1.414), (0.2,0,0.25,1.414), (0.2,0,0.25,1.414), (0.2,0,0.25,1.414), (0.2,0,0.25,1.414), (0.2,0,0.25,1.414)])
R(c_h00_00_commoncentroid_v7_____________________________________, L46_0, [(0,0,0.05,1.414), (0.2,0,0.25,1.414), (0.2,0,0.25,1.414), (0.2,0,0.25,1.414), (0.2,0,0.25,1.414), (0.2,0,0.25,1.414), (0.2,0,0.25,1.414), (0.2,0,0.25,1.414), (0.2,0,0.25,1.414), (0.2,0,0.25,1.414), (0.2,0,0.25,1.414), (0.2,0,0.25,1.414), (0.2,0,0.25,1.414)])
c_h00_00_commoncentroid_v7_____________________________________.add(gdstk.Reference(c_h00_00_commoncentroid_v7____________________________________, (0.025,0.707)))
c_h00_00_commoncentroid_v7_____________________________________.add(gdstk.Reference(c_h00_00_commoncentroid_v7____________________________________, (0.225,0.707)))

c_h00_00_commoncentroid_v7______________________________________ = lib.new_cell('H00_00_CommonCentroid_v73:SRF_CommonArray:SRF_CDAC_B0:SRF_UCAP')
c_h00_00_commoncentroid_v7______________________________________.add(gdstk.Reference(c_h00_00_commoncentroid_v7_____________________________________, (0,0)))
c_h00_00_commoncentroid_v7______________________________________.add(gdstk.Reference(c_h00_00_commoncentroid_v7_____________________________________, (0.2,0)))

c_h00_00_commoncentroid_v7_______________________________________ = lib.new_cell('H00_00_CommonCentroid_v73:SRF_CommonArray:SRF_CDAC_B0:SRF_Shield_ViaM1M7:SRF_ViaM1M2')
R(c_h00_00_commoncentroid_v7_______________________________________, L15_0, [(0,-0.292,0.05,0.082)])
A(c_h00_00_commoncentroid_v7_______________________________________, L16_15, 0, -0.26, 0.05, 0.05, 1, 3, 0, 0.13)
R(c_h00_00_commoncentroid_v7_______________________________________, L17_0, [(0,-0.292,0.05,0.082)])

c_h00_00_commoncentroid_v7________________________________________ = lib.new_cell('H00_00_CommonCentroid_v73:SRF_CommonArray:SRF_CDAC_B0:SRF_Shield_ViaM1M7:SRF_ViaM2M3')
R(c_h00_00_commoncentroid_v7________________________________________, L17_0, [(0,-0.292,0.05,0.082)])
A(c_h00_00_commoncentroid_v7________________________________________, L18_15, 0, -0.26, 0.05, 0.05, 1, 3, 0, 0.13)
R(c_h00_00_commoncentroid_v7________________________________________, L19_0, [(0,-0.292,0.05,0.082)])

c_h00_00_commoncentroid_v7_________________________________________ = lib.new_cell('H00_00_CommonCentroid_v73:SRF_CommonArray:SRF_CDAC_B0:SRF_Shield_ViaM1M7:SRF_ViaM3M4')
R(c_h00_00_commoncentroid_v7_________________________________________, L19_0, [(0,-0.292,0.05,0.082)])
A(c_h00_00_commoncentroid_v7_________________________________________, L20_15, 0, -0.26, 0.05, 0.05, 1, 3, 0, 0.13)
R(c_h00_00_commoncentroid_v7_________________________________________, L21_0, [(0,-0.292,0.05,0.082)])

c_h00_00_commoncentroid_v7__________________________________________ = lib.new_cell('H00_00_CommonCentroid_v73:SRF_CommonArray:SRF_CDAC_B0:SRF_Shield_ViaM1M7:SRF_ViaM4M5')
R(c_h00_00_commoncentroid_v7__________________________________________, L21_0, [(0,-0.292,0.05,0.082)])
A(c_h00_00_commoncentroid_v7__________________________________________, L22_15, 0, -0.26, 0.05, 0.05, 1, 3, 0, 0.13)
R(c_h00_00_commoncentroid_v7__________________________________________, L31_0, [(0,-0.292,0.05,0.082)])

c_h00_00_commoncentroid_v7___________________________________________ = lib.new_cell('H00_00_CommonCentroid_v73:SRF_CommonArray:SRF_CDAC_B0:SRF_Shield_ViaM1M7:SRF_ViaM5M6')
R(c_h00_00_commoncentroid_v7___________________________________________, L31_0, [(0,-0.292,0.05,0.082)])
A(c_h00_00_commoncentroid_v7___________________________________________, L32_15, 0, -0.26, 0.05, 0.05, 1, 3, 0, 0.13)
R(c_h00_00_commoncentroid_v7___________________________________________, L44_0, [(0,-0.292,0.05,0.082)])

c_h00_00_commoncentroid_v7____________________________________________ = lib.new_cell('H00_00_CommonCentroid_v73:SRF_CommonArray:SRF_CDAC_B0:SRF_Shield_ViaM1M7:SRF_ViaM6M7')
R(c_h00_00_commoncentroid_v7____________________________________________, L44_0, [(0,-0.292,0.05,0.082)])
A(c_h00_00_commoncentroid_v7____________________________________________, L45_15, 0, -0.26, 0.05, 0.05, 1, 3, 0, 0.13)
R(c_h00_00_commoncentroid_v7____________________________________________, L46_0, [(0,-0.292,0.05,0.082)])

c_h00_00_commoncentroid_v7_____________________________________________ = lib.new_cell('H00_00_CommonCentroid_v73:SRF_CommonArray:SRF_CDAC_B0:SRF_Shield_ViaM1M7')
c_h00_00_commoncentroid_v7_____________________________________________.add(gdstk.Reference(c_h00_00_commoncentroid_v7_______________________________________, (-0.025,0.105)))
c_h00_00_commoncentroid_v7_____________________________________________.add(gdstk.Reference(c_h00_00_commoncentroid_v7________________________________________, (-0.025,0.105)))
c_h00_00_commoncentroid_v7_____________________________________________.add(gdstk.Reference(c_h00_00_commoncentroid_v7_________________________________________, (-0.025,0.105)))
c_h00_00_commoncentroid_v7_____________________________________________.add(gdstk.Reference(c_h00_00_commoncentroid_v7__________________________________________, (-0.025,0.105)))
c_h00_00_commoncentroid_v7_____________________________________________.add(gdstk.Reference(c_h00_00_commoncentroid_v7___________________________________________, (-0.025,0.105)))
c_h00_00_commoncentroid_v7_____________________________________________.add(gdstk.Reference(c_h00_00_commoncentroid_v7____________________________________________, (-0.025,0.105)))

c_h00_00_commoncentroid_v7______________________________________________ = lib.new_cell('H00_00_CommonCentroid_v73:SRF_CommonArray:SRF_CDAC_B0')
R(c_h00_00_commoncentroid_v7______________________________________________, L15_0, [(0,0,0.45,1.414), (0,1.414,0.45,1.814), (0,1.814,0.45,2.214)])
R(c_h00_00_commoncentroid_v7______________________________________________, L17_0, [(0,1.814,0.45,2.214)])
R(c_h00_00_commoncentroid_v7______________________________________________, L19_0, [(0,1.814,0.45,2.214)])
R(c_h00_00_commoncentroid_v7______________________________________________, L21_0, [(0,1.814,0.45,2.214)])
R(c_h00_00_commoncentroid_v7______________________________________________, L31_0, [(0,1.814,0.45,2.214)])
R(c_h00_00_commoncentroid_v7______________________________________________, L44_0, [(0,1.814,0.45,2.214)])
R(c_h00_00_commoncentroid_v7______________________________________________, L46_0, [(0,0,0.45,1.414), (0,1.814,0.45,2.214)])
c_h00_00_commoncentroid_v7______________________________________________.add(gdstk.Reference(c_h00_00_commoncentroid_v7______________________________________, (0,0)))
c_h00_00_commoncentroid_v7______________________________________________.add(gdstk.Reference(c_h00_00_commoncentroid_v7_____________________________________________, (0.025,2.014)))
c_h00_00_commoncentroid_v7______________________________________________.add(gdstk.Reference(c_h00_00_commoncentroid_v7_____________________________________________, (0.225,2.014)))
c_h00_00_commoncentroid_v7______________________________________________.add(gdstk.Reference(c_h00_00_commoncentroid_v7_____________________________________________, (0.225,2.014)))
c_h00_00_commoncentroid_v7______________________________________________.add(gdstk.Reference(c_h00_00_commoncentroid_v7_____________________________________________, (0.425,2.014)))

c_h00_00_commoncentroid_v7_______________________________________________ = lib.new_cell('H00_00_CommonCentroid_v73:SRF_CommonArray')
c_h00_00_commoncentroid_v7_______________________________________________.add(gdstk.Reference(c_h00_00_commoncentroid_v7______________, (0.4,0)))
c_h00_00_commoncentroid_v7_______________________________________________.add(gdstk.Reference(c_h00_00_commoncentroid_v7______________, (1.2,0)))
c_h00_00_commoncentroid_v7_______________________________________________.add(gdstk.Reference(c_h00_00_commoncentroid_v7______________, (2,0)))
c_h00_00_commoncentroid_v7_______________________________________________.add(gdstk.Reference(c_h00_00_commoncentroid_v7______________, (2.8,0)))
c_h00_00_commoncentroid_v7_______________________________________________.add(gdstk.Reference(c_h00_00_commoncentroid_v7______________________________, (0.8,0)))
c_h00_00_commoncentroid_v7_______________________________________________.add(gdstk.Reference(c_h00_00_commoncentroid_v7______________________________, (2.4,0)))
c_h00_00_commoncentroid_v7_______________________________________________.add(gdstk.Reference(c_h00_00_commoncentroid_v7______________________________________________, (1.6,0)))

c_h00_00_commoncentroid_v7________________________________________________ = lib.new_cell('H00_00_CommonCentroid_v73')
R(c_h00_00_commoncentroid_v7________________________________________________, L31_0, [(1.725,-1.578,1.925,-1.528), (0.925,-1.128,2.725,-1.078), (0.525,-0.678,3.125,-0.628)])
R(c_h00_00_commoncentroid_v7________________________________________________, L44_0, [(1.7,-1.578,1.75,-0.228), (1.9,-1.578,1.95,-0.228), (0.9,-1.128,0.95,-0.228), (1.1,-1.128,1.15,-0.228), (2.5,-1.128,2.55,-0.228), (2.7,-1.128,2.75,-0.228), (0.5,-0.678,0.55,-0.228), (0.7,-0.678,0.75,-0.228), (1.3,-0.678,1.35,-0.228), (1.5,-0.678,1.55,-0.228), (2.1,-0.678,2.15,-0.228), (2.3,-0.678,2.35,-0.228), (2.9,-0.678,2.95,-0.228), (3.1,-0.678,3.15,-0.228)])
c_h00_00_commoncentroid_v7________________________________________________.add(gdstk.Reference(c_h00_00_commoncentroid_v7_______________________________________________, (0,0)))

lib.write_gds('H00_00_CommonCentroid_v73.gds')
